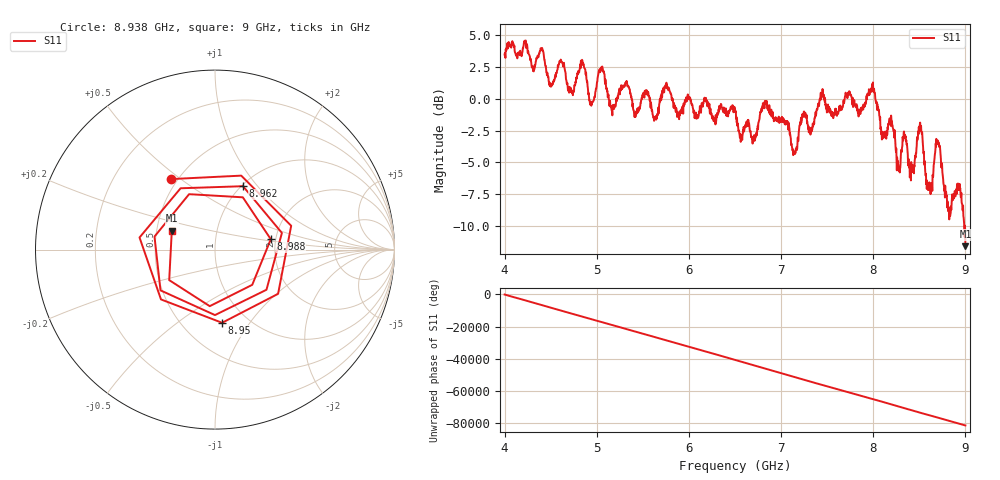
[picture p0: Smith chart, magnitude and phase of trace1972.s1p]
! Created with skrf 1.8.0 (http://scikit-rf.org).
# Hz S RI R 50.0
!freq ReS11 ImS11
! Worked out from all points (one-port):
!   1601 points, 4 GHz to 9 GHz, reference 50 ohm
!   lowest |S11| = -11.6 dB at 9 GHz (marker M1), VSWR 1.71, Z = 30 + j6.77 ohm
!   |S11| at or under -10 dB: 8.987968 GHz to 8.99397 GHz (6.002 MHz wide, 0.0668 % of centre); 8.994098 GHz to end of sweep
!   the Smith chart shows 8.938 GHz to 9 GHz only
!   S11 on the Smith chart (normalised r, x): 8.938 GHz: 0.46, +0.46; 8.95 GHz: 0.76, -0.75; 8.962 GHz: 1.02, +0.84; 8.988 GHz: 1.88, +0.24; 9 GHz: 0.60, +0.14
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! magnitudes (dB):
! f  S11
! 4 GHz  3.5
! 4.625 GHz  2.9
! 4.725 GHz  0.6
! 4.853 GHz  2.8
! 4.944 GHz  -0.2
! 5.044 GHz  2.4
! 5.162 GHz  -0.9
! 5.25 GHz  0.4
! 5.875 GHz  -1.1
! 6.5 GHz  -0.8
! 6.7 GHz  -3.3
! 6.828 GHz  -0.2
! 7.125 GHz  -4.1
! 7.441 GHz  0.5
! 7.75 GHz  0.3
! 7.994 GHz  1.1
! 8.272 GHz  -5.2
! 8.375 GHz  -4.4
! 8.422 GHz  -5.2
! 8.509 GHz  -1.9
! 8.6 GHz  -6.8
! 8.7 GHz  -3.3
! 8.822 GHz  -9.1
! 8.938 GHz  -6.7
! 8.95 GHz  -7.8
! 8.962 GHz  -8.3
! 8.988 GHz  -10.0
! 9 GHz  -11.6
